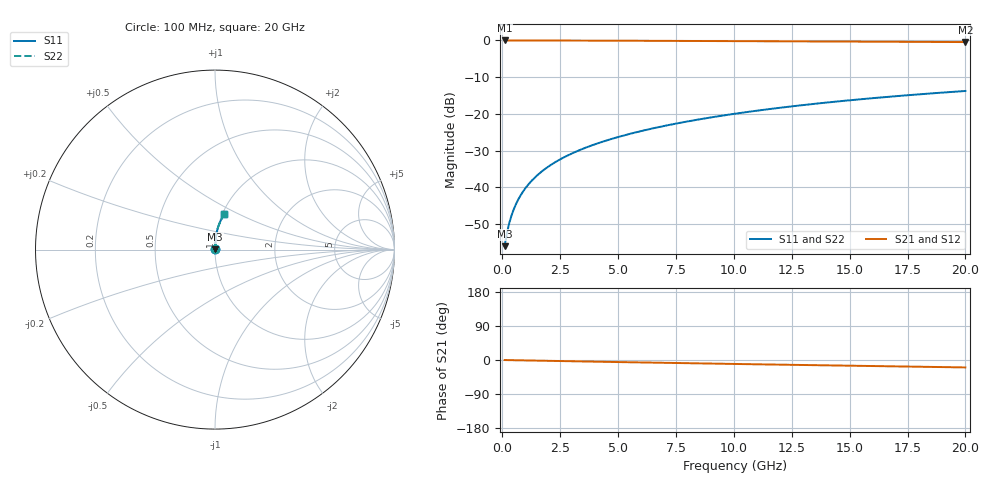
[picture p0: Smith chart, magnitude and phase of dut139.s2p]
! Touchstone file exported from HFSS 2024.1.0
!  File:  C:/UserFiles/LocalFiles/RDL_TSV_Batchsim/temp_RDL_bottom_139_1778696830.aedt
!  Generated:  02:29:57 AM May 14, 2026
!  Design:  RDL_bottom
!  Project:  temp_RDL_bottom_139_1778696830
!  Setup:  Setup1
!  Solution:  Sweep
! Variables:
!  dtsv = 10.80580581um
!  hbump = 3um
!  htsv = 97.1um
!  ldown = 266.13um
!  lrdl = 100um
!  p = 40
!  p1 = 43.03um
!  rhole = 1um
!  t = 450um
!  tdown = 4.91um
!  trdl = 3.915915916um
!  wdown = 18.31um
!  wrdl = 20um
# GHz S MA R 50.000000
! Terminal data exported
! Port[1] = RDL1_T1
! Port[2] = RDL1_T2
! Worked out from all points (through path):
!   200 points, 100 MHz to 20 GHz, reference 50 ohm
!   highest |S21| = -0.01 dB at 100 MHz (marker M1); lowest = -0.4 dB at 20 GHz (marker M2)
!   group delay of S21, straight-line fit = 2.7 ps
!   lowest |S11| = -56.1 dB at 100 MHz (marker M3), VSWR 1.00, Z = 50.1 + j0.104 ohm
!   |S11| at or under -10 dB: start of sweep to end of sweep
!   |S22| runs from -56.1 to -13.8 dB; largest |S21 - S12| = 7e-15
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0.1  0.001575 41.0  0.9988 -0.1  0.9988 -0.1  0.001575 41.0
! Gamma 0 0 0 0
! Port Impedance 50 0 50 0
0.2  0.002375 58.3  0.9987 -0.2  0.9987 -0.2  0.002375 58.3
0.3  0.003247 66.5  0.9987 -0.3  0.9987 -0.3  0.003247 66.5
0.4  0.004143 71.3  0.9986 -0.5  0.9986 -0.5  0.004143 71.3
0.5  0.005053 74.4  0.9985 -0.6  0.9985 -0.6  0.005053 74.4
0.6  0.005974 76.7  0.9985 -0.7  0.9985 -0.7  0.005974 76.7
0.8  0.007836 79.6  0.9984 -0.9  0.9984 -0.9  0.007836 79.7
1.1  0.01066 82.1  0.9982 -1.2  0.9982 -1.2  0.01066 82.1
1.5  0.01445 83.9  0.9978 -1.7  0.9978 -1.7  0.01445 83.9
1.8  0.01731 84.7  0.9975 -2.0  0.9975 -2.0  0.01731 84.7
2.1  0.02017 85.2  0.9971 -2.3  0.9971 -2.3  0.02017 85.2
2.7  0.02591 85.9  0.9962 -3.0  0.9962 -3.0  0.02591 85.9
3.5  0.03361 86.3  0.9948 -3.9  0.9948 -3.9  0.03361 86.3
4.2  0.04042 86.5  0.9934 -4.6  0.9934 -4.6  0.04042 86.5
5  0.04829 86.5  0.9916 -5.4  0.9916 -5.4  0.04829 86.5
5.9  0.05728 86.3  0.9894 -6.4  0.9894 -6.4  0.05728 86.3
6.8  0.0664 86.1  0.9871 -7.3  0.9871 -7.3  0.06641 86.1
8.4  0.08295 85.3  0.9828 -8.9  0.9828 -8.9  0.08295 85.3
10.1  0.1009 84.1  0.9781 -10.5  0.9781 -10.5  0.1009 84.1
13.4  0.136 81.4  0.9688 -13.6  0.9688 -13.6  0.136 81.4
16.7  0.1708 78.3  0.9593 -16.6  0.9593 -16.6  0.1708 78.3
20  0.2048 75.1  0.9496 -19.6  0.9496 -19.6  0.2048 75.1
